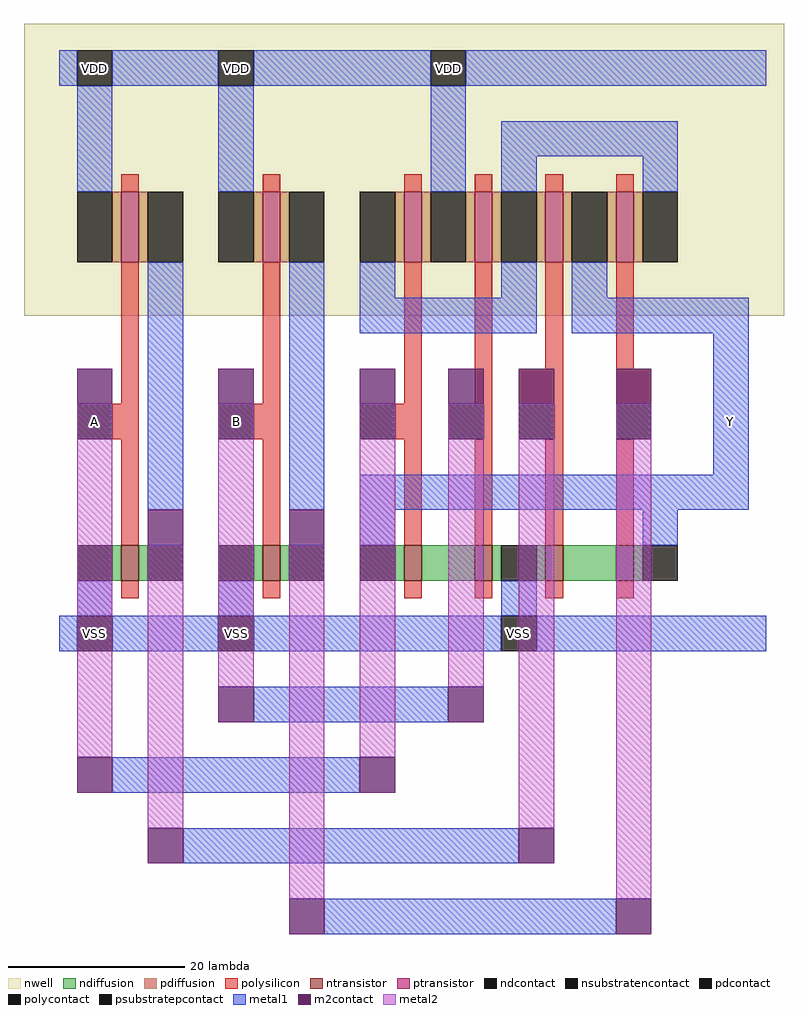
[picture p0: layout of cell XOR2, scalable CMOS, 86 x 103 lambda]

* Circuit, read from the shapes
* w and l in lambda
.subckt XOR2 A B VDD VSS Y
M1 n1 A VSS VSS nfet w=4 l=2
M2 n2 B VSS VSS nfet w=4 l=2
M3 n3 A Y VSS nfet w=4 l=2
M4 VSS B n3 VSS nfet w=4 l=2
M5 n4 n1 VSS VSS nfet w=4 l=2
M6 Y n2 n4 VSS nfet w=4 l=2
M7 n1 A VDD VDD pfet w=8 l=2
M8 n2 B VDD VDD pfet w=8 l=2
M9 VDD A n5 VDD pfet w=8 l=2
M10 n5 B VDD VDD pfet w=8 l=2
M11 Y n1 n5 VDD pfet w=8 l=2
M12 n5 n2 Y VDD pfet w=8 l=2
.ends

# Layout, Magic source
magic
tech scmos
<< nwell >>
rect -36 38 50 71
<< ntransistor >>
rect -25 8 -23 12
rect -9 8 -7 12
rect 7 8 9 12
rect 15 8 17 12
rect 23 8 25 12
rect 31 8 33 12
<< ptransistor >>
rect -25 44 -23 52
rect -9 44 -7 52
rect 7 44 9 52
rect 15 44 17 52
rect 23 44 25 52
rect 31 44 33 52
<< ndiffusion >>
rect -26 8 -25 12
rect -23 8 -22 12
rect -10 8 -9 12
rect -7 8 -6 12
rect 6 8 7 12
rect 9 8 15 12
rect 17 8 18 12
rect 22 8 23 12
rect 25 8 31 12
rect 33 8 34 12
<< pdiffusion >>
rect -26 44 -25 52
rect -23 44 -22 52
rect -10 44 -9 52
rect -7 44 -6 52
rect 6 44 7 52
rect 9 44 10 52
rect 14 44 15 52
rect 17 44 18 52
rect 22 44 23 52
rect 25 44 26 52
rect 30 44 31 52
rect 33 44 34 52
<< ndcontact >>
rect -30 8 -26 12
rect -22 8 -18 12
rect -14 8 -10 12
rect -6 8 -2 12
rect 2 8 6 12
rect 18 8 22 12
rect 34 8 38 12
<< pdcontact >>
rect -30 44 -26 52
rect -22 44 -18 52
rect -14 44 -10 52
rect -6 44 -2 52
rect 2 44 6 52
rect 10 44 14 52
rect 18 44 22 52
rect 26 44 30 52
rect 34 44 38 52
<< psubstratepcontact >>
rect -30 0 -26 4
rect -14 0 -10 4
rect 18 0 22 4
<< nsubstratencontact >>
rect -30 64 -26 68
rect -14 64 -10 68
rect 10 64 14 68
<< polysilicon >>
rect -25 52 -23 54
rect -9 52 -7 54
rect 7 52 9 54
rect 15 52 17 54
rect 23 52 25 54
rect 31 52 33 54
rect -25 28 -23 44
rect -9 28 -7 44
rect 7 28 9 44
rect 15 28 17 44
rect 23 32 25 44
rect -26 24 -23 28
rect -10 24 -7 28
rect 6 24 9 28
rect 16 24 17 28
rect 20 28 25 32
rect 24 24 25 28
rect -25 12 -23 24
rect -9 12 -7 24
rect 7 12 9 24
rect 15 12 17 24
rect 23 12 25 24
rect 31 32 33 44
rect 31 28 35 32
rect 31 12 33 24
rect -25 6 -23 8
rect -9 6 -7 8
rect 7 6 9 8
rect 15 6 17 8
rect 23 6 25 8
rect 31 6 33 8
<< polycontact >>
rect -30 24 -26 28
rect -14 24 -10 28
rect 2 24 6 28
rect 12 24 16 28
rect 20 24 24 28
rect 31 24 35 28
<< metal1 >>
rect -32 64 -30 68
rect -26 64 -14 68
rect -10 64 10 68
rect 14 64 48 68
rect -30 52 -26 64
rect -14 52 -10 64
rect 10 52 14 64
rect -22 16 -18 44
rect -6 16 -2 44
rect 18 56 38 60
rect 18 52 22 56
rect 34 52 38 56
rect 2 40 6 44
rect 18 40 22 44
rect 2 36 22 40
rect 26 40 30 44
rect 26 36 46 40
rect 42 20 46 36
rect 2 16 46 20
rect 2 12 6 16
rect 34 12 38 16
rect -30 4 -26 8
rect -14 4 -10 8
rect 18 4 22 8
rect -32 0 -30 4
rect -26 0 -14 4
rect -10 0 18 4
rect 22 0 48 4
rect -10 -8 12 -4
rect -26 -16 2 -12
rect -18 -24 20 -20
rect -2 -32 31 -28
<< m2contact >>
rect -30 28 -26 32
rect -14 28 -10 32
rect -22 12 -18 16
rect 2 28 6 32
rect 12 28 16 32
rect 20 28 24 32
rect 31 28 35 32
rect -6 12 -2 16
rect -14 -8 -10 -4
rect 12 -8 16 -4
rect -30 -16 -26 -12
rect 2 -16 6 -12
rect -22 -24 -18 -20
rect 20 -24 24 -20
rect -6 -32 -2 -28
rect 31 -32 35 -28
<< metal2 >>
rect -30 -12 -26 28
rect -22 -20 -18 12
rect -14 -4 -10 28
rect -6 -28 -2 12
rect 2 -12 6 28
rect 12 -4 16 28
rect 20 -20 24 28
rect 31 -28 35 28
<< labels >>
rlabel psubstratepcontact 20 2 20 2 1 VSS
rlabel psubstratepcontact -12 2 -12 2 1 VSS
rlabel psubstratepcontact -28 2 -28 2 1 VSS
rlabel metal1 44 26 44 26 1 Y
rlabel nsubstratencontact 12 66 12 66 1 VDD
rlabel nsubstratencontact -28 66 -28 66 1 VDD
rlabel nsubstratencontact -12 66 -12 66 1 VDD
rlabel polycontact -12 26 -12 26 1 B
rlabel polycontact -28 26 -28 26 1 A
<< end >>
